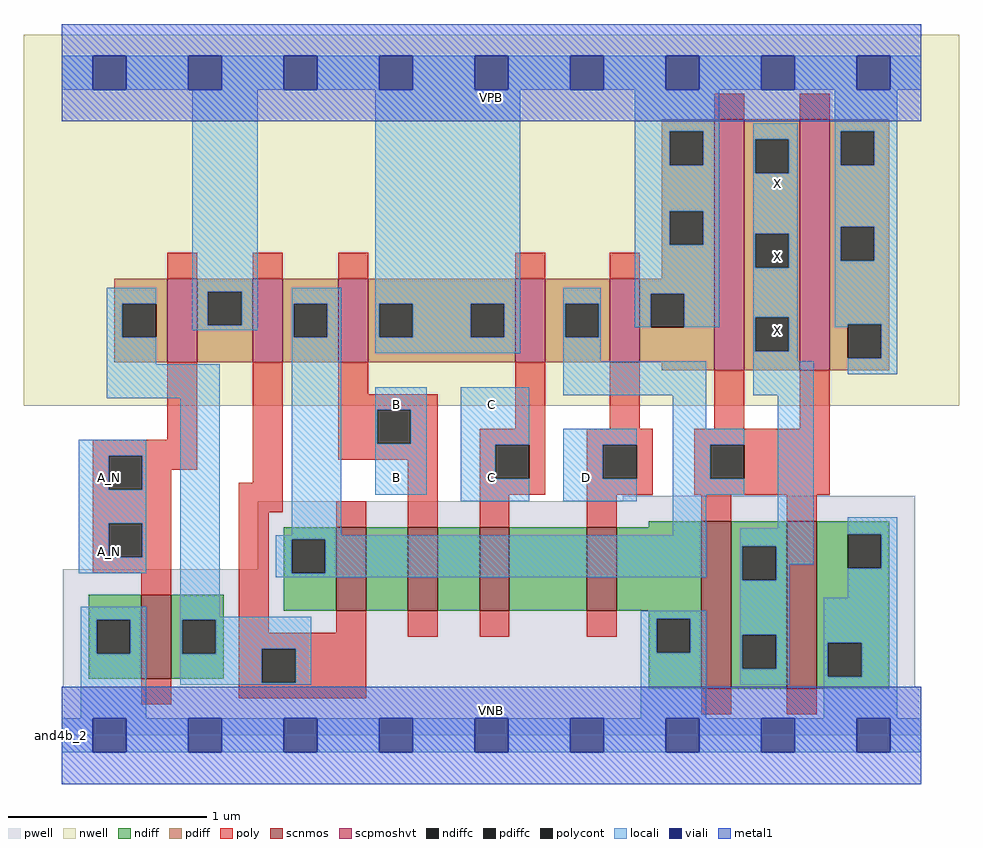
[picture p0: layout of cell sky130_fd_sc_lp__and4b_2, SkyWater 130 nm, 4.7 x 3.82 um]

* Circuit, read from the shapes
.subckt sky130_fd_sc_lp__and4b_2 A_N B C D VGND VNB VPB VPWR X
XM1 n1 A_N VGND VNB sky130_fd_pr__nfet_01v8 w=0.42 l=0.15
XM2 n2 n1 n3 VNB sky130_fd_pr__nfet_01v8 w=0.42 l=0.15
XM3 n4 B n2 VNB sky130_fd_pr__nfet_01v8 w=0.42 l=0.15
XM4 n5 C n4 VNB sky130_fd_pr__nfet_01v8 w=0.42 l=0.15
XM5 VGND D n5 VNB sky130_fd_pr__nfet_01v8 w=0.42 l=0.15
XM6 X n3 VGND VNB sky130_fd_pr__nfet_01v8 w=0.84 l=0.15 m=2
XM7 VPWR A_N n1 VPB sky130_fd_pr__pfet_01v8_hvt w=0.42 l=0.15
XM8 n3 n1 VPWR VPB sky130_fd_pr__pfet_01v8_hvt w=0.42 l=0.15
XM9 VPWR B n3 VPB sky130_fd_pr__pfet_01v8_hvt w=0.42 l=0.15
XM10 n3 C VPWR VPB sky130_fd_pr__pfet_01v8_hvt w=0.42 l=0.15
XM11 VPWR D n3 VPB sky130_fd_pr__pfet_01v8_hvt w=0.42 l=0.15
XM12 X n3 VPWR VPB sky130_fd_pr__pfet_01v8_hvt w=1.26 l=0.15 m=2
.ends

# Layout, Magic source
magic
tech sky130A
magscale 1 2
<< nwell >>
rect -38 331 902 704
<< pwell >>
rect 564 235 858 241
rect 197 167 858 235
rect 1 49 858 167
rect 0 0 864 49
<< scnmos >>
rect 80 57 110 141
rect 276 125 306 209
rect 348 125 378 209
rect 420 125 450 209
rect 528 125 558 209
rect 643 47 673 215
rect 729 47 759 215
<< scpmoshvt >>
rect 106 375 136 459
rect 192 375 222 459
rect 278 375 308 459
rect 456 375 486 459
rect 551 375 581 459
rect 656 367 686 619
rect 742 367 772 619
<< ndiff >>
rect 27 116 80 141
rect 27 82 35 116
rect 69 82 80 116
rect 27 57 80 82
rect 110 116 163 141
rect 110 82 121 116
rect 155 82 163 116
rect 110 57 163 82
rect 590 209 643 215
rect 223 197 276 209
rect 223 163 231 197
rect 265 163 276 197
rect 223 125 276 163
rect 306 125 348 209
rect 378 125 420 209
rect 450 125 528 209
rect 558 125 643 209
rect 590 117 643 125
rect 590 83 598 117
rect 632 83 643 117
rect 590 47 643 83
rect 673 190 729 215
rect 673 156 684 190
rect 718 156 729 190
rect 673 101 729 156
rect 673 67 684 101
rect 718 67 729 101
rect 673 47 729 67
rect 759 202 832 215
rect 759 168 790 202
rect 824 168 832 202
rect 759 93 832 168
rect 759 59 770 93
rect 804 59 832 93
rect 759 47 832 59
<< pdiff >>
rect 603 607 656 619
rect 603 573 611 607
rect 645 573 656 607
rect 603 527 656 573
rect 603 493 611 527
rect 645 493 656 527
rect 603 459 656 493
rect 53 434 106 459
rect 53 400 61 434
rect 95 400 106 434
rect 53 375 106 400
rect 136 446 192 459
rect 136 412 147 446
rect 181 412 192 446
rect 136 375 192 412
rect 222 434 278 459
rect 222 400 233 434
rect 267 400 278 434
rect 222 375 278 400
rect 308 434 456 459
rect 308 400 319 434
rect 353 400 411 434
rect 445 400 456 434
rect 308 375 456 400
rect 486 434 551 459
rect 486 400 506 434
rect 540 400 551 434
rect 486 375 551 400
rect 581 444 656 459
rect 581 410 592 444
rect 626 410 656 444
rect 581 375 656 410
rect 603 367 656 375
rect 686 599 742 619
rect 686 565 697 599
rect 731 565 742 599
rect 686 504 742 565
rect 686 470 697 504
rect 731 470 742 504
rect 686 420 742 470
rect 686 386 697 420
rect 731 386 742 420
rect 686 367 742 386
rect 772 607 832 619
rect 772 573 783 607
rect 817 573 832 607
rect 772 511 832 573
rect 772 477 783 511
rect 817 477 832 511
rect 772 413 832 477
rect 772 379 790 413
rect 824 379 832 413
rect 772 367 832 379
<< ndiffc >>
rect 35 82 69 116
rect 121 82 155 116
rect 231 163 265 197
rect 598 83 632 117
rect 684 156 718 190
rect 684 67 718 101
rect 790 168 824 202
rect 770 59 804 93
<< pdiffc >>
rect 611 573 645 607
rect 611 493 645 527
rect 61 400 95 434
rect 147 412 181 446
rect 233 400 267 434
rect 319 400 353 434
rect 411 400 445 434
rect 506 400 540 434
rect 592 410 626 444
rect 697 565 731 599
rect 697 470 731 504
rect 697 386 731 420
rect 783 573 817 607
rect 783 477 817 511
rect 790 379 824 413
<< poly >>
rect 656 619 686 645
rect 742 619 772 645
rect 106 459 136 485
rect 192 459 222 485
rect 278 459 308 485
rect 456 459 486 485
rect 551 459 581 485
rect 106 297 136 375
rect 31 281 136 297
rect 31 247 47 281
rect 81 267 136 281
rect 81 247 110 267
rect 192 254 222 375
rect 278 343 308 375
rect 278 327 378 343
rect 278 293 317 327
rect 351 293 378 327
rect 456 308 486 375
rect 551 308 581 375
rect 656 308 686 367
rect 742 308 772 367
rect 278 277 378 293
rect 31 213 110 247
rect 31 179 47 213
rect 81 179 110 213
rect 31 163 110 179
rect 80 141 110 163
rect 178 224 222 254
rect 178 103 208 224
rect 276 209 306 235
rect 348 209 378 277
rect 420 292 486 308
rect 420 258 436 292
rect 470 258 486 292
rect 420 242 486 258
rect 528 292 594 308
rect 528 258 544 292
rect 578 258 594 292
rect 528 242 594 258
rect 636 292 772 308
rect 636 258 652 292
rect 686 258 772 292
rect 636 242 772 258
rect 420 209 450 242
rect 528 209 558 242
rect 643 215 673 242
rect 729 215 759 242
rect 276 103 306 125
rect 178 87 306 103
rect 348 99 378 125
rect 420 99 450 125
rect 528 99 558 125
rect 80 31 110 57
rect 178 53 201 87
rect 235 53 306 87
rect 178 37 306 53
rect 643 21 673 47
rect 729 21 759 47
<< polycont >>
rect 47 247 81 281
rect 317 293 351 327
rect 47 179 81 213
rect 436 258 470 292
rect 544 258 578 292
rect 652 258 686 292
rect 201 53 235 87
<< locali >>
rect 0 649 31 683
rect 65 649 127 683
rect 161 649 223 683
rect 257 649 319 683
rect 353 649 415 683
rect 449 649 511 683
rect 545 649 607 683
rect 641 649 703 683
rect 737 649 799 683
rect 833 649 864 683
rect 45 434 95 450
rect 45 400 61 434
rect 131 446 197 649
rect 131 412 147 446
rect 181 412 197 446
rect 131 407 197 412
rect 231 434 281 450
rect 45 373 95 400
rect 231 400 233 434
rect 267 400 281 434
rect 45 339 159 373
rect 17 281 85 297
rect 17 247 47 281
rect 81 247 85 281
rect 17 213 85 247
rect 17 179 47 213
rect 81 179 85 213
rect 17 163 85 179
rect 19 116 85 129
rect 19 82 35 116
rect 69 82 85 116
rect 19 17 85 82
rect 119 119 159 339
rect 231 201 281 400
rect 315 434 461 649
rect 576 607 661 649
rect 576 573 611 607
rect 645 573 661 607
rect 576 527 661 573
rect 576 493 611 527
rect 645 493 661 527
rect 315 400 319 434
rect 353 400 411 434
rect 445 400 461 434
rect 315 384 461 400
rect 504 434 542 450
rect 504 400 506 434
rect 540 400 542 434
rect 576 444 661 493
rect 576 410 592 444
rect 626 410 661 444
rect 695 599 740 615
rect 695 565 697 599
rect 731 565 740 599
rect 695 504 740 565
rect 695 470 697 504
rect 731 470 740 504
rect 695 420 740 470
rect 504 376 542 400
rect 695 386 697 420
rect 731 386 740 420
rect 777 607 840 649
rect 777 573 783 607
rect 817 573 840 607
rect 777 511 840 573
rect 777 477 783 511
rect 817 477 840 511
rect 777 413 840 477
rect 777 410 790 413
rect 695 376 740 386
rect 824 379 840 413
rect 315 327 367 350
rect 315 293 317 327
rect 351 293 367 327
rect 315 242 367 293
rect 401 292 470 350
rect 504 342 648 376
rect 695 342 756 376
rect 790 363 840 379
rect 614 308 648 342
rect 401 258 436 292
rect 401 235 470 258
rect 504 292 578 308
rect 504 258 544 292
rect 504 235 578 258
rect 614 292 686 308
rect 614 258 652 292
rect 614 242 686 258
rect 614 201 648 242
rect 720 208 756 342
rect 215 197 648 201
rect 215 163 231 197
rect 265 163 648 197
rect 215 159 648 163
rect 682 190 756 208
rect 682 156 684 190
rect 718 172 756 190
rect 790 202 840 219
rect 718 156 732 172
rect 119 116 251 119
rect 119 82 121 116
rect 155 87 251 116
rect 155 82 201 87
rect 119 53 201 82
rect 235 53 251 87
rect 119 51 251 53
rect 582 117 648 125
rect 582 83 598 117
rect 632 83 648 117
rect 582 17 648 83
rect 682 101 732 156
rect 824 168 840 202
rect 790 138 840 168
rect 682 67 684 101
rect 718 67 732 101
rect 682 51 732 67
rect 766 93 840 138
rect 766 59 770 93
rect 804 59 840 93
rect 766 17 840 59
rect 0 -17 31 17
rect 65 -17 127 17
rect 161 -17 223 17
rect 257 -17 319 17
rect 353 -17 415 17
rect 449 -17 511 17
rect 545 -17 607 17
rect 641 -17 703 17
rect 737 -17 799 17
rect 833 -17 864 17
<< viali >>
rect 31 649 65 683
rect 127 649 161 683
rect 223 649 257 683
rect 319 649 353 683
rect 415 649 449 683
rect 511 649 545 683
rect 607 649 641 683
rect 703 649 737 683
rect 799 649 833 683
rect 31 -17 65 17
rect 127 -17 161 17
rect 223 -17 257 17
rect 319 -17 353 17
rect 415 -17 449 17
rect 511 -17 545 17
rect 607 -17 641 17
rect 703 -17 737 17
rect 799 -17 833 17
<< metal1 >>
rect 0 683 864 715
rect 0 649 31 683
rect 65 649 127 683
rect 161 649 223 683
rect 257 649 319 683
rect 353 649 415 683
rect 449 649 511 683
rect 545 649 607 683
rect 641 649 703 683
rect 737 649 799 683
rect 833 649 864 683
rect 0 617 864 649
rect 0 17 864 49
rect 0 -17 31 17
rect 65 -17 127 17
rect 161 -17 223 17
rect 257 -17 319 17
rect 353 -17 415 17
rect 449 -17 511 17
rect 545 -17 607 17
rect 641 -17 703 17
rect 737 -17 799 17
rect 833 -17 864 17
rect 0 -49 864 -17
<< labels >>
flabel pwell s 0 0 864 49 0 FreeSans 200 0 0 0 VNB
port 6 nsew ground bidirectional
flabel nwell s 0 617 864 666 0 FreeSans 200 0 0 0 VPB
port 7 nsew power bidirectional
rlabel comment s 0 0 0 0 4 and4b_2
flabel metal1 s 0 617 864 666 0 FreeSans 340 0 0 0 VPWR
port 8 nsew power bidirectional
flabel metal1 s 0 0 864 49 0 FreeSans 340 0 0 0 VGND
port 5 nsew ground bidirectional
flabel locali s 703 390 737 424 0 FreeSans 340 0 0 0 X
port 9 nsew signal output
flabel locali s 703 464 737 498 0 FreeSans 340 0 0 0 X
port 9 nsew signal output
flabel locali s 703 538 737 572 0 FreeSans 340 0 0 0 X
port 9 nsew signal output
flabel locali s 319 242 353 276 0 FreeSans 340 0 0 0 B
port 2 nsew signal input
flabel locali s 319 316 353 350 0 FreeSans 340 0 0 0 B
port 2 nsew signal input
flabel locali s 415 242 449 276 0 FreeSans 340 0 0 0 C
port 3 nsew signal input
flabel locali s 415 316 449 350 0 FreeSans 340 0 0 0 C
port 3 nsew signal input
flabel locali s 31 168 65 202 0 FreeSans 340 0 0 0 A_N
port 1 nsew signal input
flabel locali s 31 242 65 276 0 FreeSans 340 0 0 0 A_N
port 1 nsew signal input
flabel locali s 511 242 545 276 0 FreeSans 340 0 0 0 D
port 4 nsew signal input
<< properties >>
string LEFsite unit
string LEFclass CORE
string FIXED_BBOX 0 0 864 666
string GDS_FILE $PDKPATH/libs.ref/sky130_fd_sc_lp/gds/sky130_fd_sc_lp.gds
string LEFsymmetry X Y R90
string GDS_END 5361838
string GDS_START 5354064
<< end >>
